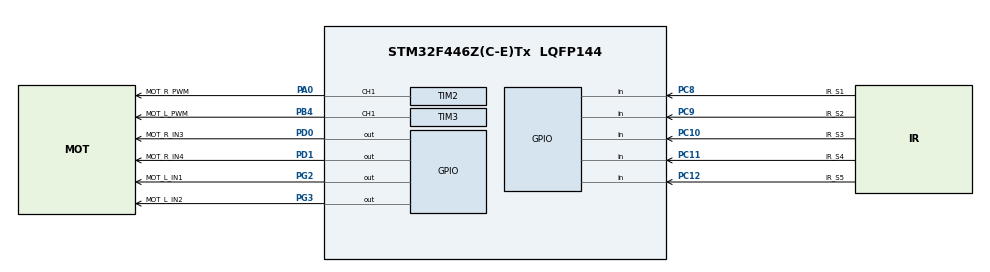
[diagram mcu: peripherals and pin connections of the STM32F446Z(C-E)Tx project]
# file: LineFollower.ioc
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Mcu.Family=STM32F4
Mcu.Name=STM32F446Z(C-E)Tx
Mcu.Package=LQFP144
NVIC.PriorityGroup=NVIC_PRIORITYGROUP_4
PA0-WKUP.GPIO_Label=MOT_R_PWM
PA0-WKUP.Signal=S_TIM2_CH1_ETR
PB4.GPIO_Label=MOT_L_PWM
PB4.Signal=S_TIM3_CH1
PC10.GPIO_Label=IR_S3
PC10.Signal=GPIO_Input
PC11.GPIO_Label=IR_S4
PC11.Signal=GPIO_Input
PC12.GPIO_Label=IR_S5
PC12.Signal=GPIO_Input
PC8.GPIO_Label=IR_S1
PC8.Signal=GPIO_Input
PC9.GPIO_Label=IR_S2
PC9.Signal=GPIO_Input
PD0.GPIO_Label=MOT_R_IN3
PD0.Signal=GPIO_Output
PD1.GPIO_Label=MOT_R_IN4
PD1.Signal=GPIO_Output
PG2.GPIO_Label=MOT_L_IN1
PG2.Signal=GPIO_Output
PG3.GPIO_Label=MOT_L_IN2
PG3.Signal=GPIO_Output
ProjectManager.HeapSize=0x200
ProjectManager.StackSize=0x400
ProjectManager.TargetToolchain=STM32CubeIDE
RCC.CortexFreq_Value=16000000
RCC.USBFreq_Value=96000000
RCC.VCOOutputFreq_Value=192000000
SH.S_TIM2_CH1_ETR.0=TIM2_CH1,PWM Generation1 CH1
SH.S_TIM3_CH1.0=TIM3_CH1,PWM Generation1 CH1
TIM2.Channel-PWM\ Generation1\ CH1=TIM_CHANNEL_1
TIM2.Period=999
TIM2.Prescaler=839
TIM3.Channel-PWM\ Generation1\ CH1=TIM_CHANNEL_1
TIM3.Period=999
TIM3.Prescaler=839
VP_TIM2_VS_ClockSourceINT.Mode=Internal
VP_TIM3_VS_ClockSourceINT.Mode=Internal
board=custom

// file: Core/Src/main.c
/* USER CODE BEGIN Header */
/**
  ******************************************************************************
  * @file           : main.c
  * @brief          : Main program body — STM32F446ZET6U Line Follower
  ******************************************************************************
  * @attention
  *
  * Copyright (c) 2026 STMicroelectronics.
  * All rights reserved.
  *
  * This software is licensed under terms that can be found in the LICENSE file
  * in the root directory of this software component.
  * If no LICENSE file comes with this software, it is provided AS-IS.
  *
  ******************************************************************************
  */
/* USER CODE END Header */
#include "main.h"
#include "tim.h"
#include "gpio.h"

/* USER CODE BEGIN PD */
#define BASE_SPEED   200   /* nominal speed 0-999 */
#define SPIN_SPEED   350   /* pivot speed when line is lost (one wheel reversed) */
/* USER CODE END PD */

/* USER CODE BEGIN PV */
typedef enum { DIR_LEFT = -1, DIR_NONE = 0, DIR_RIGHT = 1 } Direction;
static Direction last_dir = DIR_NONE;
/* USER CODE END PV */

void SystemClock_Config(void);
/* USER CODE BEGIN PFP */
static void set_left(int spd);
static void set_right(int spd);
void motor_forward(uint32_t speed);
void motor_left_gentle(uint32_t speed);
void motor_left_sharp(uint32_t speed);
void motor_right_gentle(uint32_t speed);
void motor_right_sharp(uint32_t speed);
void motor_spin_left(uint32_t speed);
void motor_spin_right(uint32_t speed);
void motor_stop(void);
/* USER CODE END PFP */

int main(void)
{

  /* MCU Configuration--------------------------------------------------------*/

  /* Reset of all peripherals, Initializes the Flash interface and the Systick. */
  HAL_Init();

  /* Configure the system clock */
  SystemClock_Config();

  /* Initialize all configured peripherals */
  MX_GPIO_Init();
  MX_TIM2_Init();
  MX_TIM3_Init();
  /* USER CODE BEGIN 2 */
  HAL_TIM_PWM_Start(&htim3, TIM_CHANNEL_1);
  HAL_TIM_PWM_Start(&htim2, TIM_CHANNEL_1);
  GPIO_InitTypeDef ledInit = {0};
  ledInit.Pin   = GPIO_PIN_0;
  ledInit.Mode  = GPIO_MODE_OUTPUT_PP;
  ledInit.Pull  = GPIO_NOPULL;
  ledInit.Speed = GPIO_SPEED_FREQ_LOW;
  HAL_GPIO_Init(GPIOB, &ledInit);
  /* USER CODE END 2 */

  /* Infinite loop */
  while (1)
  {

    /* USER CODE BEGIN 3 */
    int s1 = HAL_GPIO_ReadPin(IR_S1_GPIO_Port, IR_S1_Pin) == GPIO_PIN_RESET ? 1 : 0;
    int s2 = HAL_GPIO_ReadPin(IR_S2_GPIO_Port, IR_S2_Pin) == GPIO_PIN_RESET ? 1 : 0;
    int s3 = HAL_GPIO_ReadPin(IR_S3_GPIO_Port, IR_S3_Pin) == GPIO_PIN_RESET ? 1 : 0;
    int s4 = HAL_GPIO_ReadPin(IR_S4_GPIO_Port, IR_S4_Pin) == GPIO_PIN_RESET ? 1 : 0;
    int s5 = HAL_GPIO_ReadPin(IR_S5_GPIO_Port, IR_S5_Pin) == GPIO_PIN_RESET ? 1 : 0;

    /* Weighted position: negative = line left, positive = line right */
    int pos = -2*s1 - 1*s2 + 0*s3 + 1*s4 + 2*s5;
    int cnt = s1 + s2 + s3 + s4 + s5;

    HAL_GPIO_WritePin(GPIOB, GPIO_PIN_0, cnt ? GPIO_PIN_SET : GPIO_PIN_RESET);

    if (cnt == 0) {
        /* Line lost – pivot in place (one wheel reversed) for fast 90-degree recovery */
        if      (last_dir == DIR_LEFT)  motor_spin_left(SPIN_SPEED);
        else if (last_dir == DIR_RIGHT) motor_spin_right(SPIN_SPEED);
        else                            motor_stop();
    } else if (pos <= -2) {
        /* Sensors detect far left → no signal on right → follow right */
        motor_right_sharp(BASE_SPEED);
        last_dir = DIR_RIGHT;
    } else if (pos == -1) {
        /* Sensors detect slightly left → gentle right correction */
        motor_right_gentle(BASE_SPEED);
        last_dir = DIR_RIGHT;
    } else if (pos >= 2) {
        /* Sensors detect far right → no signal on left → follow left */
        motor_left_sharp(BASE_SPEED);
        last_dir = DIR_LEFT;
    } else if (pos == 1) {
        /* Sensors detect slightly right → gentle left correction */
        motor_left_gentle(BASE_SPEED);
        last_dir = DIR_LEFT;
    } else {
        /* Line centered (pos == 0) – go straight */
        motor_forward(BASE_SPEED);
    }
  }
  /* USER CODE END 3 */
}

void SystemClock_Config(void)
{
  RCC_OscInitTypeDef RCC_OscInitStruct = {0};
  RCC_ClkInitTypeDef RCC_ClkInitStruct = {0};

  /** Configure the main internal regulator output voltage
  */
  __HAL_RCC_PWR_CLK_ENABLE();
  __HAL_PWR_VOLTAGESCALING_CONFIG(PWR_REGULATOR_VOLTAGE_SCALE3);

  /** Initializes the RCC Oscillators according to the specified parameters
  * in the RCC_OscInitTypeDef structure.
  */
  RCC_OscInitStruct.OscillatorType = RCC_OSCILLATORTYPE_HSI;
  RCC_OscInitStruct.HSIState = RCC_HSI_ON;
  RCC_OscInitStruct.HSICalibrationValue = RCC_HSICALIBRATION_DEFAULT;
  RCC_OscInitStruct.PLL.PLLState = RCC_PLL_NONE;
  if (HAL_RCC_OscConfig(&RCC_OscInitStruct) != HAL_OK)
  {
    Error_Handler();
  }

  /** Initializes the CPU, AHB and APB buses clocks
  */
  RCC_ClkInitStruct.ClockType = RCC_CLOCKTYPE_HCLK|RCC_CLOCKTYPE_SYSCLK
                              |RCC_CLOCKTYPE_PCLK1|RCC_CLOCKTYPE_PCLK2;
  RCC_ClkInitStruct.SYSCLKSource = RCC_SYSCLKSOURCE_HSI;
  RCC_ClkInitStruct.AHBCLKDivider = RCC_SYSCLK_DIV1;
  RCC_ClkInitStruct.APB1CLKDivider = RCC_HCLK_DIV1;
  RCC_ClkInitStruct.APB2CLKDivider = RCC_HCLK_DIV1;

  if (HAL_RCC_ClockConfig(&RCC_ClkInitStruct, FLASH_LATENCY_0) != HAL_OK)
  {
    Error_Handler();
  }
}

/* USER CODE BEGIN 4 */
static void set_left(int spd)
{
    if (spd >= 0) {
        HAL_GPIO_WritePin(MOT_L_IN1_GPIO_Port, MOT_L_IN1_Pin, GPIO_PIN_RESET);
        HAL_GPIO_WritePin(MOT_L_IN2_GPIO_Port, MOT_L_IN2_Pin, GPIO_PIN_SET);
    } else {
        HAL_GPIO_WritePin(MOT_L_IN1_GPIO_Port, MOT_L_IN1_Pin, GPIO_PIN_SET);
        HAL_GPIO_WritePin(MOT_L_IN2_GPIO_Port, MOT_L_IN2_Pin, GPIO_PIN_RESET);
        spd = -spd;
    }
    __HAL_TIM_SET_COMPARE(&htim3, TIM_CHANNEL_1, (uint32_t)spd);
}

static void set_right(int spd)
{
    if (spd >= 0) {
        HAL_GPIO_WritePin(MOT_R_IN3_GPIO_Port, MOT_R_IN3_Pin, GPIO_PIN_RESET);
        HAL_GPIO_WritePin(MOT_R_IN4_GPIO_Port, MOT_R_IN4_Pin, GPIO_PIN_SET);
    } else {
        HAL_GPIO_WritePin(MOT_R_IN3_GPIO_Port, MOT_R_IN3_Pin, GPIO_PIN_SET);
        HAL_GPIO_WritePin(MOT_R_IN4_GPIO_Port, MOT_R_IN4_Pin, GPIO_PIN_RESET);
        spd = -spd;
    }
    __HAL_TIM_SET_COMPARE(&htim2, TIM_CHANNEL_1, (uint32_t)spd);
}

void motor_forward(uint32_t speed)
{
    set_left((int)speed);
    set_right((int)speed);
}

/* Gentle left: inner (left) wheel at half speed */
void motor_left_gentle(uint32_t speed)
{
    set_left((int)(speed / 2));
    set_right((int)speed);
}

/* Sharp left: inner (left) wheel stops completely */
void motor_left_sharp(uint32_t speed)
{
    set_left(0);
    set_right((int)speed);
}

/* Gentle right: inner (right) wheel at half speed */
void motor_right_gentle(uint32_t speed)
{
    set_left((int)speed);
    set_right((int)(speed / 2));
}

/* Sharp right: inner (right) wheel stops completely */
void motor_right_sharp(uint32_t speed)
{
    set_left((int)speed);
    set_right(0);
}

/* Pivot left: left wheel backward, right wheel forward – spins in place */
void motor_spin_left(uint32_t speed)
{
    set_left(-(int)speed);
    set_right((int)speed);
}

/* Pivot right: left wheel forward, right wheel backward – spins in place */
void motor_spin_right(uint32_t speed)
{
    set_left((int)speed);
    set_right(-(int)speed);
}

void motor_stop(void)
{
    HAL_GPIO_WritePin(MOT_L_IN1_GPIO_Port, MOT_L_IN1_Pin, GPIO_PIN_RESET);
    HAL_GPIO_WritePin(MOT_L_IN2_GPIO_Port, MOT_L_IN2_Pin, GPIO_PIN_RESET);
    HAL_GPIO_WritePin(MOT_R_IN3_GPIO_Port, MOT_R_IN3_Pin, GPIO_PIN_RESET);
    HAL_GPIO_WritePin(MOT_R_IN4_GPIO_Port, MOT_R_IN4_Pin, GPIO_PIN_RESET);
    __HAL_TIM_SET_COMPARE(&htim3, TIM_CHANNEL_1, 0);
    __HAL_TIM_SET_COMPARE(&htim2, TIM_CHANNEL_1, 0);
}

/* USER CODE END 4 */

void Error_Handler(void)
{
  __disable_irq();
  while (1)
  {
  }
}
